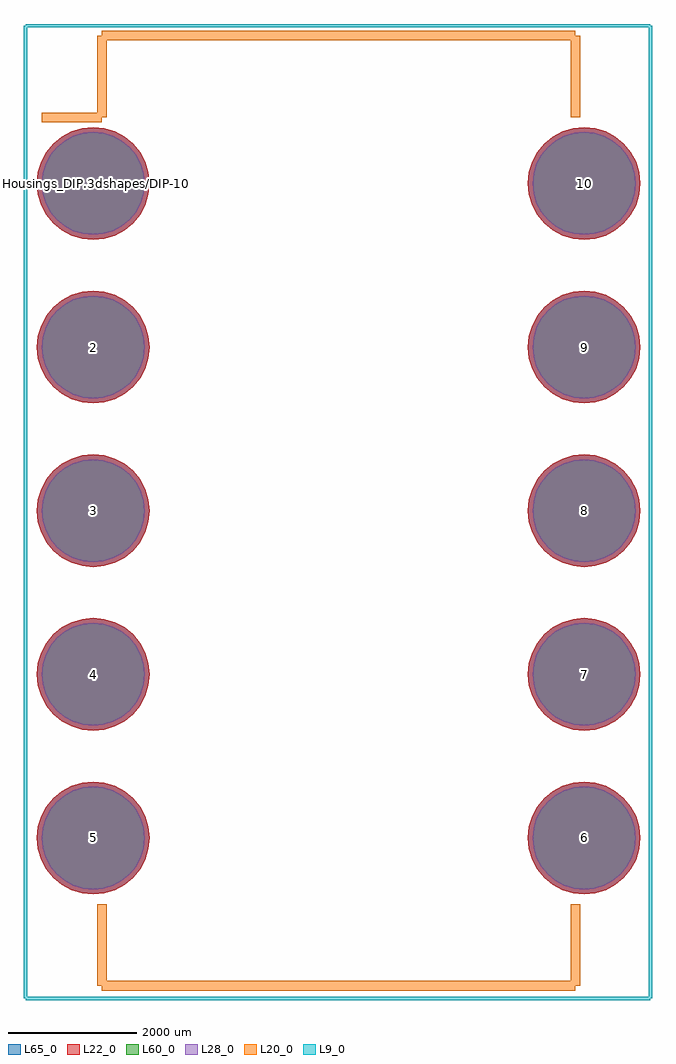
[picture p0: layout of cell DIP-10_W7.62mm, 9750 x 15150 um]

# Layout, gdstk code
import gdstk
lib = gdstk.Library(unit=1e-6, precision=1e-09)
def P(c, l, *ps):  # polygons
    for p in ps: c.add(gdstk.Polygon(p, *l))
L9_0 = (9, 0)
L20_0 = (20, 0)
L22_0 = (22, 0)
L28_0 = (28, 0)
L60_0 = (60, 0)
L65_0 = (65, 0)

dip_10_w7_62mm = lib.new_cell('DIP-10_W7.62mm')
P(dip_10_w7_62mm, L22_0, [(8495,0),(8478.187,170.704),(8428.395,334.848),(8347.536,486.124),(8238.718,618.718),(8106.124,727.536),(7954.848,808.395),(7790.704,858.187),(7620,875),(7449.296,858.187),(7285.152,808.395),(7133.876,727.536),(7001.282,618.718),(6892.464,486.124),(6811.605,334.848),(6761.813,170.704),(6745,0),(6761.813,-170.704),(6811.605,-334.848),(6892.464,-486.124),(7001.282,-618.718),(7133.876,-727.536),(7285.152,-808.395),(7449.296,-858.187),(7620,-875),(7790.704,-858.187),(7954.848,-808.395),(8106.124,-727.536),(8238.718,-618.718),(8347.536,-486.124),(8428.395,-334.848),(8478.187,-170.704)],
  [(8495,-2540),(8478.187,-2369.296),(8428.395,-2205.152),(8347.536,-2053.876),(8238.718,-1921.282),(8106.124,-1812.464),(7954.848,-1731.605),(7790.704,-1681.813),(7620,-1665),(7449.296,-1681.813),(7285.152,-1731.605),(7133.876,-1812.464),(7001.282,-1921.282),(6892.464,-2053.876),(6811.605,-2205.152),(6761.813,-2369.296),(6745,-2540),(6761.813,-2710.704),(6811.605,-2874.848),(6892.464,-3026.124),(7001.282,-3158.718),(7133.876,-3267.536),(7285.152,-3348.395),(7449.296,-3398.187),(7620,-3415),(7790.704,-3398.187),(7954.848,-3348.395),(8106.124,-3267.536),(8238.718,-3158.718),(8347.536,-3026.124),(8428.395,-2874.848),(8478.187,-2710.704)],
  [(8495,-5080),(8478.187,-4909.296),(8428.395,-4745.152),(8347.536,-4593.876),(8238.718,-4461.282),(8106.124,-4352.464),(7954.848,-4271.605),(7790.704,-4221.813),(7620,-4205),(7449.296,-4221.813),(7285.152,-4271.605),(7133.876,-4352.464),(7001.282,-4461.282),(6892.464,-4593.876),(6811.605,-4745.152),(6761.813,-4909.296),(6745,-5080),(6761.813,-5250.704),(6811.605,-5414.848),(6892.464,-5566.124),(7001.282,-5698.718),(7133.876,-5807.536),(7285.152,-5888.395),(7449.296,-5938.187),(7620,-5955),(7790.704,-5938.187),(7954.848,-5888.395),(8106.124,-5807.536),(8238.718,-5698.718),(8347.536,-5566.124),(8428.395,-5414.848),(8478.187,-5250.704)],
  [(8495,-7620),(8478.187,-7449.296),(8428.395,-7285.152),(8347.536,-7133.876),(8238.718,-7001.282),(8106.124,-6892.464),(7954.848,-6811.605),(7790.704,-6761.813),(7620,-6745),(7449.296,-6761.813),(7285.152,-6811.605),(7133.876,-6892.464),(7001.282,-7001.282),(6892.464,-7133.876),(6811.605,-7285.152),(6761.813,-7449.296),(6745,-7620),(6761.813,-7790.704),(6811.605,-7954.848),(6892.464,-8106.124),(7001.282,-8238.718),(7133.876,-8347.536),(7285.152,-8428.395),(7449.296,-8478.187),(7620,-8495),(7790.704,-8478.187),(7954.848,-8428.395),(8106.124,-8347.536),(8238.718,-8238.718),(8347.536,-8106.124),(8428.395,-7954.848),(8478.187,-7790.704)],
  [(8495,-10160),(8478.187,-9989.296),(8428.395,-9825.152),(8347.536,-9673.876),(8238.718,-9541.282),(8106.124,-9432.464),(7954.848,-9351.605),(7790.704,-9301.813),(7620,-9285),(7449.296,-9301.813),(7285.152,-9351.605),(7133.876,-9432.464),(7001.282,-9541.282),(6892.464,-9673.876),(6811.605,-9825.152),(6761.813,-9989.296),(6745,-10160),(6761.813,-10330.704),(6811.605,-10494.848),(6892.464,-10646.124),(7001.282,-10778.718),(7133.876,-10887.536),(7285.152,-10968.395),(7449.296,-11018.187),(7620,-11035),(7790.704,-11018.187),(7954.848,-10968.395),(8106.124,-10887.536),(8238.718,-10778.718),(8347.536,-10646.124),(8428.395,-10494.848),(8478.187,-10330.704)],
  [(875,-10160),(858.187,-9989.296),(808.395,-9825.152),(727.536,-9673.876),(618.718,-9541.282),(486.124,-9432.464),(334.848,-9351.605),(170.704,-9301.813),(0,-9285),(-170.704,-9301.813),(-334.848,-9351.605),(-486.124,-9432.464),(-618.718,-9541.282),(-727.536,-9673.876),(-808.395,-9825.152),(-858.187,-9989.296),(-875,-10160),(-858.187,-10330.704),(-808.395,-10494.848),(-727.536,-10646.124),(-618.718,-10778.718),(-486.124,-10887.536),(-334.848,-10968.395),(-170.704,-11018.187),(0,-11035),(170.704,-11018.187),(334.848,-10968.395),(486.124,-10887.536),(618.718,-10778.718),(727.536,-10646.124),(808.395,-10494.848),(858.187,-10330.704)],
  [(875,-7620),(858.187,-7449.296),(808.395,-7285.152),(727.536,-7133.876),(618.718,-7001.282),(486.124,-6892.464),(334.848,-6811.605),(170.704,-6761.813),(0,-6745),(-170.704,-6761.813),(-334.848,-6811.605),(-486.124,-6892.464),(-618.718,-7001.282),(-727.536,-7133.876),(-808.395,-7285.152),(-858.187,-7449.296),(-875,-7620),(-858.187,-7790.704),(-808.395,-7954.848),(-727.536,-8106.124),(-618.718,-8238.718),(-486.124,-8347.536),(-334.848,-8428.395),(-170.704,-8478.187),(0,-8495),(170.704,-8478.187),(334.848,-8428.395),(486.124,-8347.536),(618.718,-8238.718),(727.536,-8106.124),(808.395,-7954.848),(858.187,-7790.704)],
  [(875,-5080),(858.187,-4909.296),(808.395,-4745.152),(727.536,-4593.876),(618.718,-4461.282),(486.124,-4352.464),(334.848,-4271.605),(170.704,-4221.813),(0,-4205),(-170.704,-4221.813),(-334.848,-4271.605),(-486.124,-4352.464),(-618.718,-4461.282),(-727.536,-4593.876),(-808.395,-4745.152),(-858.187,-4909.296),(-875,-5080),(-858.187,-5250.704),(-808.395,-5414.848),(-727.536,-5566.124),(-618.718,-5698.718),(-486.124,-5807.536),(-334.848,-5888.395),(-170.704,-5938.187),(0,-5955),(170.704,-5938.187),(334.848,-5888.395),(486.124,-5807.536),(618.718,-5698.718),(727.536,-5566.124),(808.395,-5414.848),(858.187,-5250.704)],
  [(875,-2540),(858.187,-2369.296),(808.395,-2205.152),(727.536,-2053.876),(618.718,-1921.282),(486.124,-1812.464),(334.848,-1731.605),(170.704,-1681.813),(0,-1665),(-170.704,-1681.813),(-334.848,-1731.605),(-486.124,-1812.464),(-618.718,-1921.282),(-727.536,-2053.876),(-808.395,-2205.152),(-858.187,-2369.296),(-875,-2540),(-858.187,-2710.704),(-808.395,-2874.848),(-727.536,-3026.124),(-618.718,-3158.718),(-486.124,-3267.536),(-334.848,-3348.395),(-170.704,-3398.187),(0,-3415),(170.704,-3398.187),(334.848,-3348.395),(486.124,-3267.536),(618.718,-3158.718),(727.536,-3026.124),(808.395,-2874.848),(858.187,-2710.704)],
  [(875,0),(858.187,170.704),(808.395,334.848),(727.536,486.124),(618.718,618.718),(486.124,727.536),(334.848,808.395),(170.704,858.187),(0,875),(-170.704,858.187),(-334.848,808.395),(-486.124,727.536),(-618.718,618.718),(-727.536,486.124),(-808.395,334.848),(-858.187,170.704),(-875,0),(-858.187,-170.704),(-808.395,-334.848),(-727.536,-486.124),(-618.718,-618.718),(-486.124,-727.536),(-334.848,-808.395),(-170.704,-858.187),(0,-875),(170.704,-858.187),(334.848,-808.395),(486.124,-727.536),(618.718,-618.718),(727.536,-486.124),(808.395,-334.848),(858.187,-170.704)])
P(dip_10_w7_62mm, L28_0, [(8420,0),(8404.628,156.072),(8359.104,306.147),(8285.176,444.456),(8185.685,565.685),(8064.456,665.176),(7926.147,739.104),(7776.072,784.628),(7620,800),(7463.928,784.628),(7313.853,739.104),(7175.544,665.176),(7054.315,565.685),(6954.824,444.456),(6880.896,306.147),(6835.372,156.072),(6820,0),(6835.372,-156.072),(6880.896,-306.147),(6954.824,-444.456),(7054.315,-565.685),(7175.544,-665.176),(7313.853,-739.104),(7463.928,-784.628),(7620,-800),(7776.072,-784.628),(7926.147,-739.104),(8064.456,-665.176),(8185.685,-565.685),(8285.176,-444.456),(8359.104,-306.147),(8404.628,-156.072)],
  [(8420,-2540),(8404.628,-2383.928),(8359.104,-2233.853),(8285.176,-2095.544),(8185.685,-1974.315),(8064.456,-1874.824),(7926.147,-1800.896),(7776.072,-1755.372),(7620,-1740),(7463.928,-1755.372),(7313.853,-1800.896),(7175.544,-1874.824),(7054.315,-1974.315),(6954.824,-2095.544),(6880.896,-2233.853),(6835.372,-2383.928),(6820,-2540),(6835.372,-2696.072),(6880.896,-2846.147),(6954.824,-2984.456),(7054.315,-3105.685),(7175.544,-3205.176),(7313.853,-3279.104),(7463.928,-3324.628),(7620,-3340),(7776.072,-3324.628),(7926.147,-3279.104),(8064.456,-3205.176),(8185.685,-3105.685),(8285.176,-2984.456),(8359.104,-2846.147),(8404.628,-2696.072)],
  [(8420,-5080),(8404.628,-4923.928),(8359.104,-4773.853),(8285.176,-4635.544),(8185.685,-4514.315),(8064.456,-4414.824),(7926.147,-4340.896),(7776.072,-4295.372),(7620,-4280),(7463.928,-4295.372),(7313.853,-4340.896),(7175.544,-4414.824),(7054.315,-4514.315),(6954.824,-4635.544),(6880.896,-4773.853),(6835.372,-4923.928),(6820,-5080),(6835.372,-5236.072),(6880.896,-5386.147),(6954.824,-5524.456),(7054.315,-5645.685),(7175.544,-5745.176),(7313.853,-5819.104),(7463.928,-5864.628),(7620,-5880),(7776.072,-5864.628),(7926.147,-5819.104),(8064.456,-5745.176),(8185.685,-5645.685),(8285.176,-5524.456),(8359.104,-5386.147),(8404.628,-5236.072)],
  [(8420,-7620),(8404.628,-7463.928),(8359.104,-7313.853),(8285.176,-7175.544),(8185.685,-7054.315),(8064.456,-6954.824),(7926.147,-6880.896),(7776.072,-6835.372),(7620,-6820),(7463.928,-6835.372),(7313.853,-6880.896),(7175.544,-6954.824),(7054.315,-7054.315),(6954.824,-7175.544),(6880.896,-7313.853),(6835.372,-7463.928),(6820,-7620),(6835.372,-7776.072),(6880.896,-7926.147),(6954.824,-8064.456),(7054.315,-8185.685),(7175.544,-8285.176),(7313.853,-8359.104),(7463.928,-8404.628),(7620,-8420),(7776.072,-8404.628),(7926.147,-8359.104),(8064.456,-8285.176),(8185.685,-8185.685),(8285.176,-8064.456),(8359.104,-7926.147),(8404.628,-7776.072)],
  [(8420,-10160),(8404.628,-10003.928),(8359.104,-9853.853),(8285.176,-9715.544),(8185.685,-9594.315),(8064.456,-9494.824),(7926.147,-9420.896),(7776.072,-9375.372),(7620,-9360),(7463.928,-9375.372),(7313.853,-9420.896),(7175.544,-9494.824),(7054.315,-9594.315),(6954.824,-9715.544),(6880.896,-9853.853),(6835.372,-10003.928),(6820,-10160),(6835.372,-10316.072),(6880.896,-10466.147),(6954.824,-10604.456),(7054.315,-10725.685),(7175.544,-10825.176),(7313.853,-10899.104),(7463.928,-10944.628),(7620,-10960),(7776.072,-10944.628),(7926.147,-10899.104),(8064.456,-10825.176),(8185.685,-10725.685),(8285.176,-10604.456),(8359.104,-10466.147),(8404.628,-10316.072)],
  [(800,-10160),(784.628,-10003.928),(739.104,-9853.853),(665.176,-9715.544),(565.685,-9594.315),(444.456,-9494.824),(306.147,-9420.896),(156.072,-9375.372),(0,-9360),(-156.072,-9375.372),(-306.147,-9420.896),(-444.456,-9494.824),(-565.685,-9594.315),(-665.176,-9715.544),(-739.104,-9853.853),(-784.628,-10003.928),(-800,-10160),(-784.628,-10316.072),(-739.104,-10466.147),(-665.176,-10604.456),(-565.685,-10725.685),(-444.456,-10825.176),(-306.147,-10899.104),(-156.072,-10944.628),(0,-10960),(156.072,-10944.628),(306.147,-10899.104),(444.456,-10825.176),(565.685,-10725.685),(665.176,-10604.456),(739.104,-10466.147),(784.628,-10316.072)],
  [(800,-7620),(784.628,-7463.928),(739.104,-7313.853),(665.176,-7175.544),(565.685,-7054.315),(444.456,-6954.824),(306.147,-6880.896),(156.072,-6835.372),(0,-6820),(-156.072,-6835.372),(-306.147,-6880.896),(-444.456,-6954.824),(-565.685,-7054.315),(-665.176,-7175.544),(-739.104,-7313.853),(-784.628,-7463.928),(-800,-7620),(-784.628,-7776.072),(-739.104,-7926.147),(-665.176,-8064.456),(-565.685,-8185.685),(-444.456,-8285.176),(-306.147,-8359.104),(-156.072,-8404.628),(0,-8420),(156.072,-8404.628),(306.147,-8359.104),(444.456,-8285.176),(565.685,-8185.685),(665.176,-8064.456),(739.104,-7926.147),(784.628,-7776.072)],
  [(800,-5080),(784.628,-4923.928),(739.104,-4773.853),(665.176,-4635.544),(565.685,-4514.315),(444.456,-4414.824),(306.147,-4340.896),(156.072,-4295.372),(0,-4280),(-156.072,-4295.372),(-306.147,-4340.896),(-444.456,-4414.824),(-565.685,-4514.315),(-665.176,-4635.544),(-739.104,-4773.853),(-784.628,-4923.928),(-800,-5080),(-784.628,-5236.072),(-739.104,-5386.147),(-665.176,-5524.456),(-565.685,-5645.685),(-444.456,-5745.176),(-306.147,-5819.104),(-156.072,-5864.628),(0,-5880),(156.072,-5864.628),(306.147,-5819.104),(444.456,-5745.176),(565.685,-5645.685),(665.176,-5524.456),(739.104,-5386.147),(784.628,-5236.072)],
  [(800,-2540),(784.628,-2383.928),(739.104,-2233.853),(665.176,-2095.544),(565.685,-1974.315),(444.456,-1874.824),(306.147,-1800.896),(156.072,-1755.372),(0,-1740),(-156.072,-1755.372),(-306.147,-1800.896),(-444.456,-1874.824),(-565.685,-1974.315),(-665.176,-2095.544),(-739.104,-2233.853),(-784.628,-2383.928),(-800,-2540),(-784.628,-2696.072),(-739.104,-2846.147),(-665.176,-2984.456),(-565.685,-3105.685),(-444.456,-3205.176),(-306.147,-3279.104),(-156.072,-3324.628),(0,-3340),(156.072,-3324.628),(306.147,-3279.104),(444.456,-3205.176),(565.685,-3105.685),(665.176,-2984.456),(739.104,-2846.147),(784.628,-2696.072)],
  [(800,0),(784.628,156.072),(739.104,306.147),(665.176,444.456),(565.685,565.685),(444.456,665.176),(306.147,739.104),(156.072,784.628),(0,800),(-156.072,784.628),(-306.147,739.104),(-444.456,665.176),(-565.685,565.685),(-665.176,444.456),(-739.104,306.147),(-784.628,156.072),(-800,0),(-784.628,-156.072),(-739.104,-306.147),(-665.176,-444.456),(-565.685,-565.685),(-444.456,-665.176),(-306.147,-739.104),(-156.072,-784.628),(0,-800),(156.072,-784.628),(306.147,-739.104),(444.456,-665.176),(565.685,-565.685),(665.176,-444.456),(739.104,-306.147),(784.628,-156.072)])
P(dip_10_w7_62mm, L60_0, [(8420,0),(8404.628,156.072),(8359.104,306.147),(8285.176,444.456),(8185.685,565.685),(8064.456,665.176),(7926.147,739.104),(7776.072,784.628),(7620,800),(7463.928,784.628),(7313.853,739.104),(7175.544,665.176),(7054.315,565.685),(6954.824,444.456),(6880.896,306.147),(6835.372,156.072),(6820,0),(6835.372,-156.072),(6880.896,-306.147),(6954.824,-444.456),(7054.315,-565.685),(7175.544,-665.176),(7313.853,-739.104),(7463.928,-784.628),(7620,-800),(7776.072,-784.628),(7926.147,-739.104),(8064.456,-665.176),(8185.685,-565.685),(8285.176,-444.456),(8359.104,-306.147),(8404.628,-156.072)],
  [(8420,-2540),(8404.628,-2383.928),(8359.104,-2233.853),(8285.176,-2095.544),(8185.685,-1974.315),(8064.456,-1874.824),(7926.147,-1800.896),(7776.072,-1755.372),(7620,-1740),(7463.928,-1755.372),(7313.853,-1800.896),(7175.544,-1874.824),(7054.315,-1974.315),(6954.824,-2095.544),(6880.896,-2233.853),(6835.372,-2383.928),(6820,-2540),(6835.372,-2696.072),(6880.896,-2846.147),(6954.824,-2984.456),(7054.315,-3105.685),(7175.544,-3205.176),(7313.853,-3279.104),(7463.928,-3324.628),(7620,-3340),(7776.072,-3324.628),(7926.147,-3279.104),(8064.456,-3205.176),(8185.685,-3105.685),(8285.176,-2984.456),(8359.104,-2846.147),(8404.628,-2696.072)],
  [(8420,-5080),(8404.628,-4923.928),(8359.104,-4773.853),(8285.176,-4635.544),(8185.685,-4514.315),(8064.456,-4414.824),(7926.147,-4340.896),(7776.072,-4295.372),(7620,-4280),(7463.928,-4295.372),(7313.853,-4340.896),(7175.544,-4414.824),(7054.315,-4514.315),(6954.824,-4635.544),(6880.896,-4773.853),(6835.372,-4923.928),(6820,-5080),(6835.372,-5236.072),(6880.896,-5386.147),(6954.824,-5524.456),(7054.315,-5645.685),(7175.544,-5745.176),(7313.853,-5819.104),(7463.928,-5864.628),(7620,-5880),(7776.072,-5864.628),(7926.147,-5819.104),(8064.456,-5745.176),(8185.685,-5645.685),(8285.176,-5524.456),(8359.104,-5386.147),(8404.628,-5236.072)],
  [(8420,-7620),(8404.628,-7463.928),(8359.104,-7313.853),(8285.176,-7175.544),(8185.685,-7054.315),(8064.456,-6954.824),(7926.147,-6880.896),(7776.072,-6835.372),(7620,-6820),(7463.928,-6835.372),(7313.853,-6880.896),(7175.544,-6954.824),(7054.315,-7054.315),(6954.824,-7175.544),(6880.896,-7313.853),(6835.372,-7463.928),(6820,-7620),(6835.372,-7776.072),(6880.896,-7926.147),(6954.824,-8064.456),(7054.315,-8185.685),(7175.544,-8285.176),(7313.853,-8359.104),(7463.928,-8404.628),(7620,-8420),(7776.072,-8404.628),(7926.147,-8359.104),(8064.456,-8285.176),(8185.685,-8185.685),(8285.176,-8064.456),(8359.104,-7926.147),(8404.628,-7776.072)],
  [(8420,-10160),(8404.628,-10003.928),(8359.104,-9853.853),(8285.176,-9715.544),(8185.685,-9594.315),(8064.456,-9494.824),(7926.147,-9420.896),(7776.072,-9375.372),(7620,-9360),(7463.928,-9375.372),(7313.853,-9420.896),(7175.544,-9494.824),(7054.315,-9594.315),(6954.824,-9715.544),(6880.896,-9853.853),(6835.372,-10003.928),(6820,-10160),(6835.372,-10316.072),(6880.896,-10466.147),(6954.824,-10604.456),(7054.315,-10725.685),(7175.544,-10825.176),(7313.853,-10899.104),(7463.928,-10944.628),(7620,-10960),(7776.072,-10944.628),(7926.147,-10899.104),(8064.456,-10825.176),(8185.685,-10725.685),(8285.176,-10604.456),(8359.104,-10466.147),(8404.628,-10316.072)],
  [(800,-10160),(784.628,-10003.928),(739.104,-9853.853),(665.176,-9715.544),(565.685,-9594.315),(444.456,-9494.824),(306.147,-9420.896),(156.072,-9375.372),(0,-9360),(-156.072,-9375.372),(-306.147,-9420.896),(-444.456,-9494.824),(-565.685,-9594.315),(-665.176,-9715.544),(-739.104,-9853.853),(-784.628,-10003.928),(-800,-10160),(-784.628,-10316.072),(-739.104,-10466.147),(-665.176,-10604.456),(-565.685,-10725.685),(-444.456,-10825.176),(-306.147,-10899.104),(-156.072,-10944.628),(0,-10960),(156.072,-10944.628),(306.147,-10899.104),(444.456,-10825.176),(565.685,-10725.685),(665.176,-10604.456),(739.104,-10466.147),(784.628,-10316.072)],
  [(800,-7620),(784.628,-7463.928),(739.104,-7313.853),(665.176,-7175.544),(565.685,-7054.315),(444.456,-6954.824),(306.147,-6880.896),(156.072,-6835.372),(0,-6820),(-156.072,-6835.372),(-306.147,-6880.896),(-444.456,-6954.824),(-565.685,-7054.315),(-665.176,-7175.544),(-739.104,-7313.853),(-784.628,-7463.928),(-800,-7620),(-784.628,-7776.072),(-739.104,-7926.147),(-665.176,-8064.456),(-565.685,-8185.685),(-444.456,-8285.176),(-306.147,-8359.104),(-156.072,-8404.628),(0,-8420),(156.072,-8404.628),(306.147,-8359.104),(444.456,-8285.176),(565.685,-8185.685),(665.176,-8064.456),(739.104,-7926.147),(784.628,-7776.072)],
  [(800,-5080),(784.628,-4923.928),(739.104,-4773.853),(665.176,-4635.544),(565.685,-4514.315),(444.456,-4414.824),(306.147,-4340.896),(156.072,-4295.372),(0,-4280),(-156.072,-4295.372),(-306.147,-4340.896),(-444.456,-4414.824),(-565.685,-4514.315),(-665.176,-4635.544),(-739.104,-4773.853),(-784.628,-4923.928),(-800,-5080),(-784.628,-5236.072),(-739.104,-5386.147),(-665.176,-5524.456),(-565.685,-5645.685),(-444.456,-5745.176),(-306.147,-5819.104),(-156.072,-5864.628),(0,-5880),(156.072,-5864.628),(306.147,-5819.104),(444.456,-5745.176),(565.685,-5645.685),(665.176,-5524.456),(739.104,-5386.147),(784.628,-5236.072)],
  [(800,-2540),(784.628,-2383.928),(739.104,-2233.853),(665.176,-2095.544),(565.685,-1974.315),(444.456,-1874.824),(306.147,-1800.896),(156.072,-1755.372),(0,-1740),(-156.072,-1755.372),(-306.147,-1800.896),(-444.456,-1874.824),(-565.685,-1974.315),(-665.176,-2095.544),(-739.104,-2233.853),(-784.628,-2383.928),(-800,-2540),(-784.628,-2696.072),(-739.104,-2846.147),(-665.176,-2984.456),(-565.685,-3105.685),(-444.456,-3205.176),(-306.147,-3279.104),(-156.072,-3324.628),(0,-3340),(156.072,-3324.628),(306.147,-3279.104),(444.456,-3205.176),(565.685,-3105.685),(665.176,-2984.456),(739.104,-2846.147),(784.628,-2696.072)],
  [(800,0),(784.628,156.072),(739.104,306.147),(665.176,444.456),(565.685,565.685),(444.456,665.176),(306.147,739.104),(156.072,784.628),(0,800),(-156.072,784.628),(-306.147,739.104),(-444.456,665.176),(-565.685,565.685),(-665.176,444.456),(-739.104,306.147),(-784.628,156.072),(-800,0),(-784.628,-156.072),(-739.104,-306.147),(-665.176,-444.456),(-565.685,-565.685),(-444.456,-665.176),(-306.147,-739.104),(-156.072,-784.628),(0,-800),(156.072,-784.628),(306.147,-739.104),(444.456,-665.176),(565.685,-565.685),(665.176,-444.456),(739.104,-306.147),(784.628,-156.072)])
P(dip_10_w7_62mm, L65_0, [(8495,0),(8478.187,170.704),(8428.395,334.848),(8347.536,486.124),(8238.718,618.718),(8106.124,727.536),(7954.848,808.395),(7790.704,858.187),(7620,875),(7449.296,858.187),(7285.152,808.395),(7133.876,727.536),(7001.282,618.718),(6892.464,486.124),(6811.605,334.848),(6761.813,170.704),(6745,0),(6761.813,-170.704),(6811.605,-334.848),(6892.464,-486.124),(7001.282,-618.718),(7133.876,-727.536),(7285.152,-808.395),(7449.296,-858.187),(7620,-875),(7790.704,-858.187),(7954.848,-808.395),(8106.124,-727.536),(8238.718,-618.718),(8347.536,-486.124),(8428.395,-334.848),(8478.187,-170.704)],
  [(8495,-2540),(8478.187,-2369.296),(8428.395,-2205.152),(8347.536,-2053.876),(8238.718,-1921.282),(8106.124,-1812.464),(7954.848,-1731.605),(7790.704,-1681.813),(7620,-1665),(7449.296,-1681.813),(7285.152,-1731.605),(7133.876,-1812.464),(7001.282,-1921.282),(6892.464,-2053.876),(6811.605,-2205.152),(6761.813,-2369.296),(6745,-2540),(6761.813,-2710.704),(6811.605,-2874.848),(6892.464,-3026.124),(7001.282,-3158.718),(7133.876,-3267.536),(7285.152,-3348.395),(7449.296,-3398.187),(7620,-3415),(7790.704,-3398.187),(7954.848,-3348.395),(8106.124,-3267.536),(8238.718,-3158.718),(8347.536,-3026.124),(8428.395,-2874.848),(8478.187,-2710.704)],
  [(8495,-5080),(8478.187,-4909.296),(8428.395,-4745.152),(8347.536,-4593.876),(8238.718,-4461.282),(8106.124,-4352.464),(7954.848,-4271.605),(7790.704,-4221.813),(7620,-4205),(7449.296,-4221.813),(7285.152,-4271.605),(7133.876,-4352.464),(7001.282,-4461.282),(6892.464,-4593.876),(6811.605,-4745.152),(6761.813,-4909.296),(6745,-5080),(6761.813,-5250.704),(6811.605,-5414.848),(6892.464,-5566.124),(7001.282,-5698.718),(7133.876,-5807.536),(7285.152,-5888.395),(7449.296,-5938.187),(7620,-5955),(7790.704,-5938.187),(7954.848,-5888.395),(8106.124,-5807.536),(8238.718,-5698.718),(8347.536,-5566.124),(8428.395,-5414.848),(8478.187,-5250.704)],
  [(8495,-7620),(8478.187,-7449.296),(8428.395,-7285.152),(8347.536,-7133.876),(8238.718,-7001.282),(8106.124,-6892.464),(7954.848,-6811.605),(7790.704,-6761.813),(7620,-6745),(7449.296,-6761.813),(7285.152,-6811.605),(7133.876,-6892.464),(7001.282,-7001.282),(6892.464,-7133.876),(6811.605,-7285.152),(6761.813,-7449.296),(6745,-7620),(6761.813,-7790.704),(6811.605,-7954.848),(6892.464,-8106.124),(7001.282,-8238.718),(7133.876,-8347.536),(7285.152,-8428.395),(7449.296,-8478.187),(7620,-8495),(7790.704,-8478.187),(7954.848,-8428.395),(8106.124,-8347.536),(8238.718,-8238.718),(8347.536,-8106.124),(8428.395,-7954.848),(8478.187,-7790.704)],
  [(8495,-10160),(8478.187,-9989.296),(8428.395,-9825.152),(8347.536,-9673.876),(8238.718,-9541.282),(8106.124,-9432.464),(7954.848,-9351.605),(7790.704,-9301.813),(7620,-9285),(7449.296,-9301.813),(7285.152,-9351.605),(7133.876,-9432.464),(7001.282,-9541.282),(6892.464,-9673.876),(6811.605,-9825.152),(6761.813,-9989.296),(6745,-10160),(6761.813,-10330.704),(6811.605,-10494.848),(6892.464,-10646.124),(7001.282,-10778.718),(7133.876,-10887.536),(7285.152,-10968.395),(7449.296,-11018.187),(7620,-11035),(7790.704,-11018.187),(7954.848,-10968.395),(8106.124,-10887.536),(8238.718,-10778.718),(8347.536,-10646.124),(8428.395,-10494.848),(8478.187,-10330.704)],
  [(875,-10160),(858.187,-9989.296),(808.395,-9825.152),(727.536,-9673.876),(618.718,-9541.282),(486.124,-9432.464),(334.848,-9351.605),(170.704,-9301.813),(0,-9285),(-170.704,-9301.813),(-334.848,-9351.605),(-486.124,-9432.464),(-618.718,-9541.282),(-727.536,-9673.876),(-808.395,-9825.152),(-858.187,-9989.296),(-875,-10160),(-858.187,-10330.704),(-808.395,-10494.848),(-727.536,-10646.124),(-618.718,-10778.718),(-486.124,-10887.536),(-334.848,-10968.395),(-170.704,-11018.187),(0,-11035),(170.704,-11018.187),(334.848,-10968.395),(486.124,-10887.536),(618.718,-10778.718),(727.536,-10646.124),(808.395,-10494.848),(858.187,-10330.704)],
  [(875,-7620),(858.187,-7449.296),(808.395,-7285.152),(727.536,-7133.876),(618.718,-7001.282),(486.124,-6892.464),(334.848,-6811.605),(170.704,-6761.813),(0,-6745),(-170.704,-6761.813),(-334.848,-6811.605),(-486.124,-6892.464),(-618.718,-7001.282),(-727.536,-7133.876),(-808.395,-7285.152),(-858.187,-7449.296),(-875,-7620),(-858.187,-7790.704),(-808.395,-7954.848),(-727.536,-8106.124),(-618.718,-8238.718),(-486.124,-8347.536),(-334.848,-8428.395),(-170.704,-8478.187),(0,-8495),(170.704,-8478.187),(334.848,-8428.395),(486.124,-8347.536),(618.718,-8238.718),(727.536,-8106.124),(808.395,-7954.848),(858.187,-7790.704)],
  [(875,-5080),(858.187,-4909.296),(808.395,-4745.152),(727.536,-4593.876),(618.718,-4461.282),(486.124,-4352.464),(334.848,-4271.605),(170.704,-4221.813),(0,-4205),(-170.704,-4221.813),(-334.848,-4271.605),(-486.124,-4352.464),(-618.718,-4461.282),(-727.536,-4593.876),(-808.395,-4745.152),(-858.187,-4909.296),(-875,-5080),(-858.187,-5250.704),(-808.395,-5414.848),(-727.536,-5566.124),(-618.718,-5698.718),(-486.124,-5807.536),(-334.848,-5888.395),(-170.704,-5938.187),(0,-5955),(170.704,-5938.187),(334.848,-5888.395),(486.124,-5807.536),(618.718,-5698.718),(727.536,-5566.124),(808.395,-5414.848),(858.187,-5250.704)],
  [(875,-2540),(858.187,-2369.296),(808.395,-2205.152),(727.536,-2053.876),(618.718,-1921.282),(486.124,-1812.464),(334.848,-1731.605),(170.704,-1681.813),(0,-1665),(-170.704,-1681.813),(-334.848,-1731.605),(-486.124,-1812.464),(-618.718,-1921.282),(-727.536,-2053.876),(-808.395,-2205.152),(-858.187,-2369.296),(-875,-2540),(-858.187,-2710.704),(-808.395,-2874.848),(-727.536,-3026.124),(-618.718,-3158.718),(-486.124,-3267.536),(-334.848,-3348.395),(-170.704,-3398.187),(0,-3415),(170.704,-3398.187),(334.848,-3348.395),(486.124,-3267.536),(618.718,-3158.718),(727.536,-3026.124),(808.395,-2874.848),(858.187,-2710.704)],
  [(875,0),(858.187,170.704),(808.395,334.848),(727.536,486.124),(618.718,618.718),(486.124,727.536),(334.848,808.395),(170.704,858.187),(0,875),(-170.704,858.187),(-334.848,808.395),(-486.124,727.536),(-618.718,618.718),(-727.536,486.124),(-808.395,334.848),(-858.187,170.704),(-875,0),(-858.187,-170.704),(-808.395,-334.848),(-727.536,-486.124),(-618.718,-618.718),(-486.124,-727.536),(-334.848,-808.395),(-170.704,-858.187),(0,-875),(170.704,-858.187),(334.848,-808.395),(486.124,-727.536),(618.718,-618.718),(727.536,-486.124),(808.395,-334.848),(858.187,-170.704)])
dip_10_w7_62mm.add(gdstk.FlexPath([(135,1025),(-800,1025)], 149.998, ends="flush", simple_path=True, layer=20, datatype=0))  # L20_0
dip_10_w7_62mm.add(gdstk.FlexPath([(135,-12455),(7485,-12455)], 149.998, ends="flush", simple_path=True, layer=20, datatype=0))  # L20_0
dip_10_w7_62mm.add(gdstk.FlexPath([(135,2295),(7485,2295)], 149.998, ends="flush", simple_path=True, layer=20, datatype=0))  # L20_0
dip_10_w7_62mm.add(gdstk.FlexPath([(135,-12455),(135,-11185)], 149.998, ends="flush", simple_path=True, layer=20, datatype=0))  # L20_0
dip_10_w7_62mm.add(gdstk.FlexPath([(7485,-12455),(7485,-11185)], 149.998, ends="flush", simple_path=True, layer=20, datatype=0))  # L20_0
dip_10_w7_62mm.add(gdstk.FlexPath([(7485,2295),(7485,1025)], 149.998, ends="flush", simple_path=True, layer=20, datatype=0))  # L20_0
dip_10_w7_62mm.add(gdstk.FlexPath([(135,2295),(135,1025)], 149.998, ends="flush", simple_path=True, layer=20, datatype=0))  # L20_0
dip_10_w7_62mm.add(gdstk.FlexPath([(-1050,-12650),(8650,-12650)], 50, ends="flush", simple_path=True, layer=9, datatype=0))  # L9_0
dip_10_w7_62mm.add(gdstk.FlexPath([(-1050,2450),(8650,2450)], 50, ends="flush", simple_path=True, layer=9, datatype=0))  # L9_0
dip_10_w7_62mm.add(gdstk.FlexPath([(8650,2450),(8650,-12650)], 50, ends="flush", simple_path=True, layer=9, datatype=0))  # L9_0
dip_10_w7_62mm.add(gdstk.FlexPath([(-1050,2450),(-1050,-12650)], 50, ends="flush", simple_path=True, layer=9, datatype=0))  # L9_0
dip_10_w7_62mm.add(gdstk.Label('Housings_DIP.3dshapes/DIP-10_W7.62mm.wrl', (0,0), layer=12, texttype=0))
dip_10_w7_62mm.add(gdstk.Label('10', (7620,0), layer=28, texttype=0))
dip_10_w7_62mm.add(gdstk.Label('9', (7620,-2540), layer=28, texttype=0))
dip_10_w7_62mm.add(gdstk.Label('8', (7620,-5080), layer=28, texttype=0))
dip_10_w7_62mm.add(gdstk.Label('7', (7620,-7620), layer=28, texttype=0))
dip_10_w7_62mm.add(gdstk.Label('6', (7620,-10160), layer=28, texttype=0))
dip_10_w7_62mm.add(gdstk.Label('5', (0,-10160), layer=28, texttype=0))
dip_10_w7_62mm.add(gdstk.Label('4', (0,-7620), layer=28, texttype=0))
dip_10_w7_62mm.add(gdstk.Label('3', (0,-5080), layer=28, texttype=0))
dip_10_w7_62mm.add(gdstk.Label('2', (0,-2540), layer=28, texttype=0))
dip_10_w7_62mm.add(gdstk.Label('1', (0,0), layer=28, texttype=0))
dip_10_w7_62mm.add(gdstk.Label('type', (0,3720), layer=9, texttype=0))
dip_10_w7_62mm.add(gdstk.Label('devicename', (0,5220), layer=9, texttype=0))

lib.write_gds('DIP-10_W7.62mm.gds')
